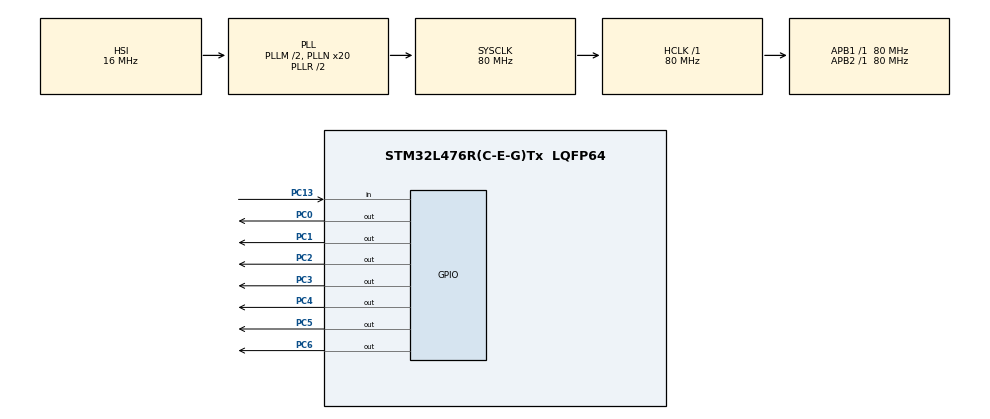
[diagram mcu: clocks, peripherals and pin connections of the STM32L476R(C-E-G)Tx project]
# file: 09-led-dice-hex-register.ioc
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Mcu.Family=STM32L4
Mcu.Name=STM32L476R(C-E-G)Tx
Mcu.Package=LQFP64
NVIC.PriorityGroup=NVIC_PRIORITYGROUP_4
PC0.Signal=GPIO_Output
PC1.Signal=GPIO_Output
PC13.Signal=GPIO_Input
PC2.Signal=GPIO_Output
PC3.Signal=GPIO_Output
PC4.Signal=GPIO_Output
PC5.Signal=GPIO_Output
PC6.Signal=GPIO_Output
ProjectManager.HeapSize=0x200
ProjectManager.StackSize=0x400
ProjectManager.TargetToolchain=STM32CubeIDE
RCC.ADCFreq_Value=32000000
RCC.AHBFreq_Value=80000000
RCC.APB1Freq_Value=80000000
RCC.APB1TimFreq_Value=80000000
RCC.APB2Freq_Value=80000000
RCC.APB2TimFreq_Value=80000000
RCC.CortexFreq_Value=80000000
RCC.HCLKFreq_Value=80000000
RCC.HSE_VALUE=8000000
RCC.HSI_VALUE=16000000
RCC.LSE_VALUE=32768
RCC.MSI_VALUE=4000000
RCC.PLLM=2
RCC.PLLN=20
RCC.PLLSourceVirtual=RCC_PLLSOURCE_HSI
RCC.PREFETCH_ENABLE=1
RCC.SYSCLKFreq_VALUE=80000000
RCC.SYSCLKSource=RCC_SYSCLKSOURCE_PLLCLK
RCC.USBFreq_Value=32000000
RCC.VCOOutputFreq_Value=160000000
board=NUCLEO-L476RG

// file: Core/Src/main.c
/* USER CODE BEGIN Header */
/**
  ******************************************************************************
  * @file           : main.c
  * @brief          : Main program body
  ******************************************************************************
  * @attention
  *
  * Copyright (c) 2025 STMicroelectronics.
  * All rights reserved.
  *
  * This software is licensed under terms that can be found in the LICENSE file
  * in the root directory of this software component.
  * If no LICENSE file comes with this software, it is provided AS-IS.
  *
  ******************************************************************************
  */
/* USER CODE END Header */
#include "main.h"

/* USER CODE BEGIN Includes */
#include "stdlib.h"
#include "time.h"
/* USER CODE END Includes */

void SystemClock_Config(void);
static void MX_GPIO_Init(void);

/* USER CODE BEGIN 0 */
int LED_Array[] = {
  0x0008,  //led hex value for dice number 1
  0x0022,  //led hex value for dice number 2
  0x002A,  //led hex value for dice number 3
  0x0055,  //led hex value for dice number 4
  0x005D,  //led hex value for dice number 5
  0x0077,  //led hex value for dice number 6
};

void Reset_All_Leds() {
	//Reset all Leds
	GPIOC -> ODR = 0x0;    //set output data register value of zero
}
/* USER CODE END 0 */

int main(void)
{

  /* MCU Configuration--------------------------------------------------------*/

  /* Reset of all peripherals, Initializes the Flash interface and the Systick. */
  HAL_Init();

  /* Configure the system clock */
  SystemClock_Config();

  /* Initialize all configured peripherals */
  MX_GPIO_Init();
  /* USER CODE BEGIN 2 */
  srand(time(NULL));    //random number seed
  Reset_All_Leds();    //Reset all Leds
  /* USER CODE END 2 */

  /* Infinite loop */
  /* USER CODE BEGIN WHILE */
  while (1)
  {
    //wait for button pressed
    while(HAL_GPIO_ReadPin(GPIOC, button) == 1) {
      //do nothing
    }
    int dice_number = rand()%6;    //generate random dice number
    GPIOC -> ODR = LED_Array[dice_number];    //write to output data register
    HAL_Delay(5000);    //delay
    Reset_All_Leds();    //Reset all Leds
    /* USER CODE END WHILE */

  }
}

void SystemClock_Config(void)
{
  RCC_OscInitTypeDef RCC_OscInitStruct = {0};
  RCC_ClkInitTypeDef RCC_ClkInitStruct = {0};

  /** Configure the main internal regulator output voltage
  */
  if (HAL_PWREx_ControlVoltageScaling(PWR_REGULATOR_VOLTAGE_SCALE1) != HAL_OK)
  {
    Error_Handler();
  }

  /** Initializes the RCC Oscillators according to the specified parameters
  * in the RCC_OscInitTypeDef structure.
  */
  RCC_OscInitStruct.OscillatorType = RCC_OSCILLATORTYPE_HSI;
  RCC_OscInitStruct.HSIState = RCC_HSI_ON;
  RCC_OscInitStruct.HSICalibrationValue = RCC_HSICALIBRATION_DEFAULT;
  RCC_OscInitStruct.PLL.PLLState = RCC_PLL_ON;
  RCC_OscInitStruct.PLL.PLLSource = RCC_PLLSOURCE_HSI;
  RCC_OscInitStruct.PLL.PLLM = 2;
  RCC_OscInitStruct.PLL.PLLN = 20;
  RCC_OscInitStruct.PLL.PLLP = RCC_PLLP_DIV7;
  RCC_OscInitStruct.PLL.PLLQ = RCC_PLLQ_DIV2;
  RCC_OscInitStruct.PLL.PLLR = RCC_PLLR_DIV2;
  if (HAL_RCC_OscConfig(&RCC_OscInitStruct) != HAL_OK)
  {
    Error_Handler();
  }

  /** Initializes the CPU, AHB and APB buses clocks
  */
  RCC_ClkInitStruct.ClockType = RCC_CLOCKTYPE_HCLK|RCC_CLOCKTYPE_SYSCLK
                              |RCC_CLOCKTYPE_PCLK1|RCC_CLOCKTYPE_PCLK2;
  RCC_ClkInitStruct.SYSCLKSource = RCC_SYSCLKSOURCE_PLLCLK;
  RCC_ClkInitStruct.AHBCLKDivider = RCC_SYSCLK_DIV1;
  RCC_ClkInitStruct.APB1CLKDivider = RCC_HCLK_DIV1;
  RCC_ClkInitStruct.APB2CLKDivider = RCC_HCLK_DIV1;

  if (HAL_RCC_ClockConfig(&RCC_ClkInitStruct, FLASH_LATENCY_4) != HAL_OK)
  {
    Error_Handler();
  }
}

static void MX_GPIO_Init(void)
{
  GPIO_InitTypeDef GPIO_InitStruct = {0};

  /* GPIO Ports Clock Enable */
  __HAL_RCC_GPIOC_CLK_ENABLE();

  /*Configure GPIO pin Output Level */
  HAL_GPIO_WritePin(GPIOC, GPIO_PIN_0|GPIO_PIN_1|GPIO_PIN_2|GPIO_PIN_3
                          |GPIO_PIN_4|GPIO_PIN_5|GPIO_PIN_6, GPIO_PIN_RESET);

  /*Configure GPIO pin : PC13 */
  GPIO_InitStruct.Pin = GPIO_PIN_13;
  GPIO_InitStruct.Mode = GPIO_MODE_INPUT;
  GPIO_InitStruct.Pull = GPIO_NOPULL;
  HAL_GPIO_Init(GPIOC, &GPIO_InitStruct);

  /*Configure GPIO pins : PC0 PC1 PC2 PC3
                           PC4 PC5 PC6 */
  GPIO_InitStruct.Pin = GPIO_PIN_0|GPIO_PIN_1|GPIO_PIN_2|GPIO_PIN_3
                          |GPIO_PIN_4|GPIO_PIN_5|GPIO_PIN_6;
  GPIO_InitStruct.Mode = GPIO_MODE_OUTPUT_PP;
  GPIO_InitStruct.Pull = GPIO_NOPULL;
  GPIO_InitStruct.Speed = GPIO_SPEED_FREQ_LOW;
  HAL_GPIO_Init(GPIOC, &GPIO_InitStruct);

}

void Error_Handler(void)
{
  __disable_irq();
  while (1)
  {
  }
}
